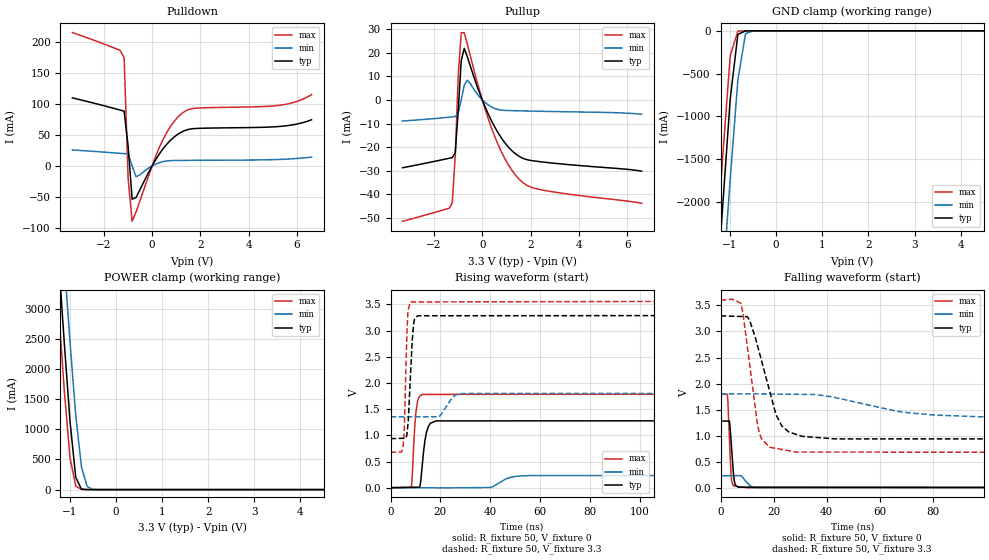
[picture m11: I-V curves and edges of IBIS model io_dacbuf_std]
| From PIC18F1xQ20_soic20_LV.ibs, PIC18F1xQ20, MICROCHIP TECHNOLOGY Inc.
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[Model] io_dacbuf_std
Model_type I/O
Vinl  =  0.8
Vinh  =  2
| Capacitance   typ   min   max
C_comp   4.088616676252255e-12   4.083241909458624e-12   4.324939492441876e-12
[Model Spec]
| Subparameter   typ   min   max
Vinl   1.5   0.81   1.65
Vinh   3.6   1.89   3.85
Vmeas   2.5   1.35   2.75
| Variables   typ   min   max
[GND Clamp Reference]   0   0   0
[POWER Clamp Reference]   3.3   1.8   3.6
[Pulldown Reference]   0   0   0
[Pullup Reference]   3.3   1.8   3.6
[Temperature Range]   25   125   -40
[Voltage Range]   3.3   1.8   3.6
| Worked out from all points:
|   slope of the pulldown table from 0 to 0.495 V, typ, clamps not added: 16.7 ohm
|   slope of the pullup table from 0 to 0.495 V, typ, clamps not added: 44.8 ohm
|   GND clamp passes 1 mA (typ) near -0.66 V on its own axis
|   POWER clamp passes 1 mA (typ) near -0.62 V on its own axis
|   falling waveform, R_fixture 50, V_fixture 0: 20-80 % time 1.13ns typ, 2.46ns min, 907ps max; typ from 1.28 V to 0 V
|   falling waveform, R_fixture 50, V_fixture 3.3: 20-80 % time 7.47ns typ, 25.6ns min, 4.49ns max; typ from 3.3 V to 0.936 V
|   rising waveform, R_fixture 50, V_fixture 0: 20-80 % time 1.92ns typ, 5.35ns min, 1.35ns max; typ from 0 V to 1.28 V
|   rising waveform, R_fixture 50, V_fixture 3.3: 20-80 % time 1.51ns typ, 3.78ns min, 1.03ns max; typ from 0.936 V to 3.3 V
[GND Clamp]
| Voltage   I(typ)   I(min)   I(max)
-3.3V     -18.86A    -18.99A    -18.82A
-1.324V   -3.358A    -4.204A    -2.824A
-1.159V   -2.06A     -2.965A    -1.484A
-993.1mV  -793mA     -1.726A    -286.8mA
-827.6mV  -41.38mA   -573.3mA   -3.74mA
-662.1mV  -803.1uA   -33.94mA   -569.9uA
-496.6mV  -22.45uA   -496uA     -6.252uA
6.6V      0A         0A         0A
[POWER Clamp]
| Voltage   I(typ)   I(min)   I(max)
-3.3V     27.14A     27.7A      26.84A
-1.366V   5.229A     6.49A      4.453A
-1.241V   3.831A     5.134A     3.027A
-1.117V   2.441A     3.784A     1.646A
-993.1mV  1.136A     2.454A     529.2mA
-869mV    203.9mA    1.235A     58.4mA
-744.8mV  7.755mA    375.7mA    3.313mA
-620.7mV  778.9uA    50.8mA     915.3uA
-496.6mV  58.9uA     2.688mA    101uA
6.6V      0A         0A         0A
[Pulldown]
| Voltage   I(typ)   I(min)   I(max)
-3.3V     109.4mA    25.68mA    214.5mA
-1.324V   89.88mA    20.27mA    185.9mA
-1.159V   88.12mA    19.77mA    173.8mA
-993.1mV  31.88mA    19.25mA    -20.25mA
-827.6mV  -53.52mA   -38.86uA   -89.02mA
-662.1mV  -50.57mA   -17.43mA   -73.42mA
341.4mV   21.7mA     5.717mA    33.47mA
796.6mV   42.57mA    8.672mA    65.49mA
1.252V    55.15mA    8.913mA    85mA
1.821V    60.27mA    9.023mA    92.84mA
5.286V    63.53mA    10.51mA    97.64mA
6.6V      74.28mA    14.23mA    114.7mA
[Pullup]
| Voltage   I(typ)   I(min)   I(max)
-3.3V     -28.7mA    -8.942mA   -51.33mA
-1.241V   -24.41mA   -7.2mA     -43.58mA
-1.117V   -22.37mA   -7.062mA   -23.61mA
-993.1mV  -4.232mA   -5.311mA   10.35mA
-869mV    16.64mA    -51.77uA   28.44mA
-744.8mV  21.75mA    6.177mA    28.29mA
-620.7mV  18.28mA    8.311mA    23.71mA
455.2mV   -10.29mA   -3.355mA   -13.89mA
1.024V    -19.27mA   -4.499mA   -26.48mA
1.593V    -24.26mA   -4.657mA   -34.17mA
2.503V    -26.27mA   -4.856mA   -38.14mA
6.6V      -30.13mA   -6.092mA   -43.73mA
[Ramp]
dV/dt_r   0.768807/1.91971n  0.139527/5.34628n  1.07649/1.35194n
dV/dt_f   1.41823/7.47051n  0.26806/25.6397n  1.75309/4.49266n
R_load = 50
[Falling Waveform]
R_fixture = 50
V_fixture = 0
V_fixture_min = 0
V_fixture_max = 0
| Time   V(typ)   V(min)   V(max)
0s        1.281V     232.5mV    1.794V
2.493ns   1.282V     233.3mV    1.796V
2.723ns   1.282V     233.4mV    1.662V
3.269ns   1.282V     233.6mV    980.1mV
3.891ns   915.4mV    233.8mV    281.4mV
4.474ns   504.1mV    234mV      68.89mV
5.152ns   133.5mV    234.2mV    34.12mV
5.636ns   44.6mV     234.3mV    31.01mV
9.887ns   13.14mV    102.4mV    3.699mV
562.5ns   177.2nV    51.42nV    96.32nV
[Falling Waveform]
R_fixture = 50
V_fixture = 3.3
V_fixture_min = 1.8
V_fixture_max = 3.6
| Time   V(typ)   V(min)   V(max)
0s        3.3V       1.8V       3.6V
7.589ns   3.288V     1.802V     3.543V
10.88ns   3.22V      1.803V     2.386V
13.78ns   2.752V     1.802V     1.257V
15.47ns   2.43V      1.801V     936.9mV
20.86ns   1.407V     1.798V     757.2mV
23.07ns   1.188V     1.797V     736.7mV
28.53ns   1.025V     1.795V     686mV
99.79ns   939.1mV    1.361V     684.9mV
562.5ns   936.3mV    1.353V     678.2mV
[Rising Waveform]
R_fixture = 50
V_fixture = 0
V_fixture_min = 0
V_fixture_max = 0
| Time   V(typ)   V(min)   V(max)
0s        -57.76pV   12.69nV    -70.68pV
8.362ns   7.2mV      -1.099mV   8.391mV
10.07ns   8.67mV     -1.324mV   1.4V
11.69ns   10.07mV    -1.537mV   1.746V
12.63ns   390.8mV    -1.661mV   1.781V
14.4ns    1.056V     -1.893mV   1.781V
18.33ns   1.276V     -2.411mV   1.781V
40.05ns   1.276V     4.294mV    1.781V
56.54ns   1.276V     231.5mV    1.782V
562.5ns   1.281V     232.5mV    1.794V
[Rising Waveform]
R_fixture = 50
V_fixture = 3.3
V_fixture_min = 1.8
V_fixture_max = 3.6
| Time   V(typ)   V(min)   V(max)
0s        936.3mV    1.353V     678.2mV
5.043ns   943mV      1.354V     805.8mV
5.58ns    943.7mV    1.354V     1.246V
6.641ns   1.062V     1.354V     3.047V
6.99ns    1.218V     1.354V     3.374V
7.863ns   2.023V     1.354V     3.546V
9.249ns   3.125V     1.354V     3.546V
10.85ns   3.282V     1.354V     3.546V
31.23ns   3.283V     1.799V     3.548V
562.5ns   3.3V       1.8V       3.6V
